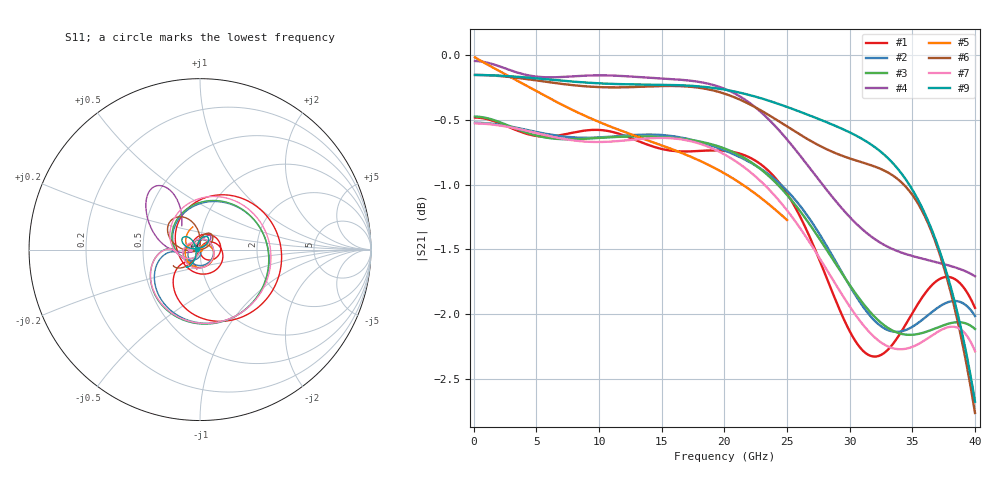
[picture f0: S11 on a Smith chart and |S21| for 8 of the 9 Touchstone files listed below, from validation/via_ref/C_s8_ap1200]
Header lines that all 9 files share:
# Hz S RI R 50
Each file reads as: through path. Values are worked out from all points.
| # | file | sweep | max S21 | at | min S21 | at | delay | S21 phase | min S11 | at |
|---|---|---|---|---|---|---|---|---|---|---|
| 1 | cst.s2p | 100 MHz to 40 GHz | -0.48 dB | 100 MHz | -2.3 dB | 32 GHz | 58.6 ps | -58 deg at 20.1 GHz | -52.1 dB | 9.5 GHz |
| 2 | cst_fine.s2p | 100 MHz to 40 GHz | -0.52 dB | 200 MHz | -2.1 dB | 33.7 GHz | 59.2 ps | -62 deg at 20.1 GHz | -51.8 dB | 15.5 GHz |
| 3 | kisi.s2p | 100 MHz to 40 GHz | -0.47 dB | 100 MHz | -2.2 dB | 34.8 GHz | 59.3 ps | -62 deg at 20.1 GHz | -50.2 dB | 16.6 GHz |
| 4 | kisi_deembedded.s2p | 100 MHz to 40 GHz | -0.05 dB | 100 MHz | -1.7 dB | 40 GHz | 12.5 ps | -85 deg at 20.1 GHz | -50.8 dB | 16.5 GHz |
| 5 | kisi_model.s2p | 100 MHz to 25 GHz | -0.02 dB | 100 MHz | -1.3 dB | 25 GHz | 57.6 ps | 101 deg at 12.6 GHz | -52.4 dB | 100 MHz |
| 6 | ladder.s2p | 100 MHz to 40 GHz | -0.15 dB | 100 MHz | -2.8 dB | 40 GHz | 15.5 ps | -89 deg at 20.1 GHz | -50.2 dB | 17.2 GHz |
| 7 | openems.s2p | 100 MHz to 40 GHz | -0.53 dB | 100 MHz | -2.3 dB | 40 GHz | 59.8 ps | -66 deg at 20.1 GHz | -52.6 dB | 16.5 GHz |
| 8 | openems_base.s2p | 100 MHz to 40 GHz | -0.53 dB | 100 MHz | -2.4 dB | 40 GHz | 60 ps | -66 deg at 20.1 GHz | -58.5 dB | 16.6 GHz |
| 9 | pbm.s2p | 100 MHz to 40 GHz | -0.15 dB | 100 MHz | -2.7 dB | 40 GHz | 14.9 ps | -84 deg at 20.1 GHz | -40.7 dB | 18.2 GHz |
